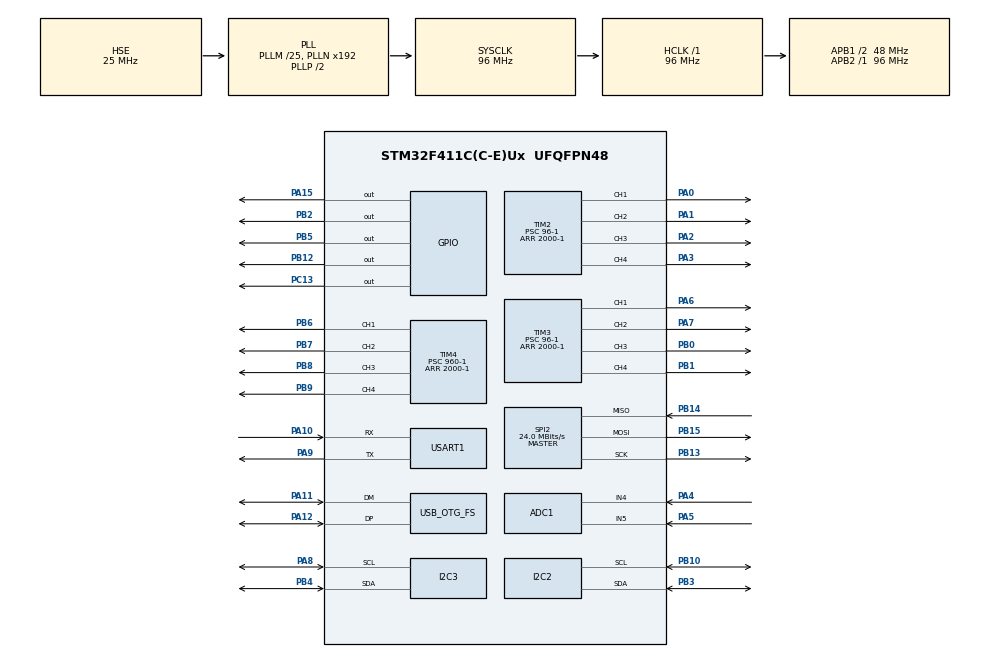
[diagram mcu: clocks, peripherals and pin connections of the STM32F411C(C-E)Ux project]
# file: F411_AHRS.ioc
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ADC1.Channel-0\#ChannelRegularConversion=ADC_CHANNEL_4
ADC1.NbrOfConversionFlag=1
ADC1.Rank-0\#ChannelRegularConversion=1
ADC1.SamplingTime-0\#ChannelRegularConversion=ADC_SAMPLETIME_3CYCLES
ADC1.master=1
Dma.Request0=USART1_RX
Dma.Request1=USART1_TX
Dma.USART1_RX.0.Direction=DMA_PERIPH_TO_MEMORY
Dma.USART1_RX.0.FIFOMode=DMA_FIFOMODE_DISABLE
Dma.USART1_RX.0.Instance=DMA2_Stream2
Dma.USART1_RX.0.MemDataAlignment=DMA_MDATAALIGN_BYTE
Dma.USART1_RX.0.MemInc=DMA_MINC_ENABLE
Dma.USART1_RX.0.Mode=DMA_NORMAL
Dma.USART1_RX.0.PeriphDataAlignment=DMA_PDATAALIGN_BYTE
Dma.USART1_RX.0.PeriphInc=DMA_PINC_DISABLE
Dma.USART1_RX.0.Priority=DMA_PRIORITY_VERY_HIGH
Dma.USART1_TX.1.Direction=DMA_MEMORY_TO_PERIPH
Dma.USART1_TX.1.FIFOMode=DMA_FIFOMODE_DISABLE
Dma.USART1_TX.1.Instance=DMA2_Stream7
Dma.USART1_TX.1.MemDataAlignment=DMA_MDATAALIGN_BYTE
Dma.USART1_TX.1.MemInc=DMA_MINC_ENABLE
Dma.USART1_TX.1.Mode=DMA_NORMAL
Dma.USART1_TX.1.PeriphDataAlignment=DMA_PDATAALIGN_BYTE
Dma.USART1_TX.1.PeriphInc=DMA_PINC_DISABLE
Dma.USART1_TX.1.Priority=DMA_PRIORITY_VERY_HIGH
I2C2.I2C_Mode=I2C_Fast
I2C3.I2C_Mode=I2C_Fast
Mcu.Family=STM32F4
Mcu.Name=STM32F411C(C-E)Ux
Mcu.Package=UFQFPN48
NVIC.DMA2_Stream2_IRQn=true\:0\:0\:false\:false\:true\:false\:true\:true
NVIC.DMA2_Stream7_IRQn=true\:0\:0\:false\:false\:true\:false\:true\:true
NVIC.OTG_FS_IRQn=true\:0\:0\:false\:false\:true\:false\:true\:true
NVIC.PriorityGroup=NVIC_PRIORITYGROUP_4
NVIC.TIM1_BRK_TIM9_IRQn=true\:15\:0\:false\:false\:true\:false\:true\:true
NVIC.TimeBase=TIM1_BRK_TIM9_IRQn
NVIC.TimeBaseIP=TIM9
PA0-WKUP.Signal=S_TIM2_CH1_ETR
PA1.Signal=S_TIM2_CH2
PA10.Mode=Asynchronous
PA10.Signal=USART1_RX
PA11.Mode=Device_Only
PA11.Signal=USB_OTG_FS_DM
PA12.Mode=Device_Only
PA12.Signal=USB_OTG_FS_DP
PA13.Mode=Serial_Wire
PA13.Signal=SYS_JTMS-SWDIO
PA14.Mode=Serial_Wire
PA14.Signal=SYS_JTCK-SWCLK
PA15.Signal=GPIO_Output
PA2.Signal=S_TIM2_CH3
PA3.Signal=S_TIM2_CH4
PA4.Signal=ADCx_IN4
PA5.Signal=ADCx_IN5
PA6.Signal=S_TIM3_CH1
PA7.Signal=S_TIM3_CH2
PA8.Mode=I2C
PA8.Signal=I2C3_SCL
PA9.Mode=Asynchronous
PA9.Signal=USART1_TX
PB0.Signal=S_TIM3_CH3
PB1.Signal=S_TIM3_CH4
PB10.Mode=I2C
PB10.Signal=I2C2_SCL
PB12.Signal=GPIO_Output
PB13.Mode=Full_Duplex_Master
PB13.Signal=SPI2_SCK
PB14.Mode=Full_Duplex_Master
PB14.Signal=SPI2_MISO
PB15.Mode=Full_Duplex_Master
PB15.Signal=SPI2_MOSI
PB2.Signal=GPIO_Output
PB3.Mode=I2C
PB3.Signal=I2C2_SDA
PB4.Mode=I2C
PB4.Signal=I2C3_SDA
PB5.Signal=GPIO_Output
PB6.Signal=S_TIM4_CH1
PB7.Signal=S_TIM4_CH2
PB8.Signal=S_TIM4_CH3
PB9.Signal=S_TIM4_CH4
PC13-ANTI_TAMP.PinState=GPIO_PIN_RESET
PC13-ANTI_TAMP.Signal=GPIO_Output
PH0\ -\ OSC_IN.Mode=HSE-External-Oscillator
PH0\ -\ OSC_IN.Signal=RCC_OSC_IN
PH1\ -\ OSC_OUT.Mode=HSE-External-Oscillator
PH1\ -\ OSC_OUT.Signal=RCC_OSC_OUT
ProjectManager.HeapSize=0x200
ProjectManager.StackSize=0x400
ProjectManager.TargetToolchain=STM32CubeIDE
RCC.48MHZClocksFreq_Value=48000000
RCC.AHBFreq_Value=96000000
RCC.APB1CLKDivider=RCC_HCLK_DIV2
RCC.APB1Freq_Value=48000000
RCC.APB1TimFreq_Value=96000000
RCC.APB2Freq_Value=96000000
RCC.APB2TimFreq_Value=96000000
RCC.CortexFreq_Value=96000000
RCC.HCLKFreq_Value=96000000
RCC.HSE_VALUE=25000000
RCC.HSI_VALUE=16000000
RCC.LSE_VALUE=32768
RCC.PLLM=25
RCC.SYSCLKFreq_VALUE=96000000
RCC.SYSCLKSource=RCC_SYSCLKSOURCE_PLLCLK
RCC.VCOOutputFreq_Value=192000000
SH.ADCx_IN4.0=ADC1_IN4,IN4
SH.ADCx_IN5.0=ADC1_IN5,IN5
SH.S_TIM2_CH1_ETR.0=TIM2_CH1,PWM Generation1 CH1
SH.S_TIM2_CH2.0=TIM2_CH2,PWM Generation2 CH2
SH.S_TIM2_CH3.0=TIM2_CH3,PWM Generation3 CH3
SH.S_TIM2_CH4.0=TIM2_CH4,PWM Generation4 CH4
SH.S_TIM3_CH1.0=TIM3_CH1,PWM Generation1 CH1
SH.S_TIM3_CH2.0=TIM3_CH2,PWM Generation2 CH2
SH.S_TIM3_CH3.0=TIM3_CH3,PWM Generation3 CH3
SH.S_TIM3_CH4.0=TIM3_CH4,PWM Generation4 CH4
SH.S_TIM4_CH1.0=TIM4_CH1,PWM Generation1 CH1
SH.S_TIM4_CH2.0=TIM4_CH2,PWM Generation2 CH2
SH.S_TIM4_CH3.0=TIM4_CH3,PWM Generation3 CH3
SH.S_TIM4_CH4.0=TIM4_CH4,PWM Generation4 CH4
SPI2.CalculateBaudRate=24.0 MBits/s
SPI2.Direction=SPI_DIRECTION_2LINES
SPI2.Mode=SPI_MODE_MASTER
SPI2.VirtualType=VM_MASTER
TIM11.Period=65535
TIM11.Prescaler=96-1
TIM2.Channel-PWM\ Generation1\ CH1=TIM_CHANNEL_1
TIM2.Channel-PWM\ Generation2\ CH2=TIM_CHANNEL_2
TIM2.Channel-PWM\ Generation3\ CH3=TIM_CHANNEL_3
TIM2.Channel-PWM\ Generation4\ CH4=TIM_CHANNEL_4
TIM2.Period=2000-1
TIM2.Prescaler=96-1
TIM3.Channel-PWM\ Generation1\ CH1=TIM_CHANNEL_1
TIM3.Channel-PWM\ Generation2\ CH2=TIM_CHANNEL_2
TIM3.Channel-PWM\ Generation3\ CH3=TIM_CHANNEL_3
TIM3.Channel-PWM\ Generation4\ CH4=TIM_CHANNEL_4
TIM3.Period=2000-1
TIM3.Prescaler=96-1
TIM4.Channel-PWM\ Generation1\ CH1=TIM_CHANNEL_1
TIM4.Channel-PWM\ Generation2\ CH2=TIM_CHANNEL_2
TIM4.Channel-PWM\ Generation3\ CH3=TIM_CHANNEL_3
TIM4.Channel-PWM\ Generation4\ CH4=TIM_CHANNEL_4
TIM4.Period=2000-1
TIM4.Prescaler=960-1
USART1.VirtualMode=VM_ASYNC
USB_DEVICE.CLASS_NAME_FS=CDC
USB_DEVICE.MANUFACTURER_STRING=AquaCore
USB_DEVICE.PRODUCT_STRING_CDC_FS=AquaVCP
USB_DEVICE.VirtualMode=Cdc
USB_DEVICE.VirtualModeFS=Cdc_FS
USB_OTG_FS.VirtualMode=Device_Only
VP_SYS_VS_tim9.Mode=TIM9
VP_TIM11_VS_ClockSourceINT.Mode=Enable_Timer
VP_TIM2_VS_ClockSourceINT.Mode=Internal
VP_TIM3_VS_ClockSourceINT.Mode=Internal
VP_TIM4_VS_ClockSourceINT.Mode=Internal
VP_USB_DEVICE_VS_USB_DEVICE_CDC_FS.Mode=CDC_FS
board=custom

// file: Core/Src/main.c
/* USER CODE BEGIN Header */
/**
  ******************************************************************************
  * @file           : main.c
  * @brief          : Main program body
  ******************************************************************************
  * @attention
  *
  * Copyright (c) 2025 STMicroelectronics.
  * All rights reserved.
  *
  * This software is licensed under terms that can be found in the LICENSE file
  * in the root directory of this software component.
  * If no LICENSE file comes with this software, it is provided AS-IS.
  *
  ******************************************************************************
  */
/* USER CODE END Header */
#include "main.h"
#include "usb_device.h"

/* USER CODE BEGIN Includes */
#include "stdint.h"
#include "string.h"
#include "stdio.h"
#include "math.h"
#include "mpu6050.h"
#include "micros.h"
#include "quaternion.h"
#include "FusionAHRS.h"
#include "LowPassFilter.h"
#include "NotchFilter.h"
/* USER CODE END Includes */

/* USER CODE BEGIN PTD */
MPU6050_t imu_t;

Quaternion_t quaternion_t;

NotchFilter_t NF_gyro_x, NF_gyro_y, NF_gyro_z;
LPFTwoPole_t LPF_accel_x, LPF_accel_y, LPF_accel_z, LPF_gyro_x, LPF_gyro_y, LPF_gyro_z;
/* USER CODE END PTD */

/* USER CODE BEGIN PD */
#define 	SAMPLE_FREQ_HZ 		1000.0f	// Data sample frequency in Hz
#define 	LPF_ACCEL_CTOFF_HZ 	260.0f	// LPF Cut-Off or accelerometer
#define 	LPF_GYRO_CTOFF_HZ 	256.0f	// LPF Cut-Off or gyro
#define 	NF_GYRO_CFREQ_HZ	74.0f	// NF center frequency for Gyro
#define 	NF_GYRO_NWDTH_HZ	5.0f	// NF notch-width frequency for Gyro
/* USER CODE END PD */

/* USER CODE BEGIN PM */
uint32_t Timer_GetElapsed(TIM_HandleTypeDef *htim, uint32_t timer_start);
void SendOrientationData(float yaw, float pitch, float roll);
/* USER CODE END PM */

ADC_HandleTypeDef hadc1;

I2C_HandleTypeDef hi2c2;
I2C_HandleTypeDef hi2c3;

SPI_HandleTypeDef hspi2;

TIM_HandleTypeDef htim2;
TIM_HandleTypeDef htim3;
TIM_HandleTypeDef htim4;
TIM_HandleTypeDef htim11;

UART_HandleTypeDef huart1;
DMA_HandleTypeDef hdma_usart1_rx;
DMA_HandleTypeDef hdma_usart1_tx;

void SystemClock_Config(void);
static void MX_GPIO_Init(void);
static void MX_DMA_Init(void);
static void MX_TIM2_Init(void);
static void MX_TIM3_Init(void);
static void MX_I2C2_Init(void);
static void MX_I2C3_Init(void);
static void MX_USART1_UART_Init(void);
static void MX_TIM11_Init(void);
static void MX_TIM4_Init(void);
static void MX_SPI2_Init(void);
static void MX_ADC1_Init(void);

/* USER CODE BEGIN 0 */
float sample_time_sec_f32 = 1.0f / SAMPLE_FREQ_HZ;
float sample_time_us_f32 = (1.0f / SAMPLE_FREQ_HZ) * 1000000.0f;
float accelLowPassFiltered_f32[3], gyroLowPassFiltered_f32[3], gyroNotchFiltered_f32[3];
float eulerAngles_f32[3];

uint32_t sayac = 0;

char buffer[64];
uint64_t timer_u64 = 0;
uint64_t lastTime_u64 = 0;
uint32_t baslangic = 0;
uint32_t bitis = 0;
uint32_t bitis2 = 0;

/* USER CODE END 0 */

int main(void)
{

  /* MCU Configuration--------------------------------------------------------*/

  /* Reset of all peripherals, Initializes the Flash interface and the Systick. */
  HAL_Init();

  /* Configure the system clock */
  SystemClock_Config();

  /* Initialize all configured peripherals */
  MX_GPIO_Init();
  MX_DMA_Init();
  MX_TIM2_Init();
  MX_TIM3_Init();
  MX_I2C2_Init();
  MX_I2C3_Init();
  MX_USART1_UART_Init();
  MX_TIM11_Init();
  MX_TIM4_Init();
  MX_SPI2_Init();
  MX_ADC1_Init();
  MX_USB_DEVICE_Init();
  /* USER CODE BEGIN 2 */
  HAL_GPIO_WritePin(GPIOC, GPIO_PIN_13, SET);
  //Init DWT Clock for proper us time tick
  DWT_Init();

  //Init filter with predefined settings
  LPFTwoPole_Init(&LPF_accel_x, LPF_TYPE_BESSEL, LPF_ACCEL_CTOFF_HZ, sample_time_sec_f32);
  LPFTwoPole_Init(&LPF_accel_y, LPF_TYPE_BESSEL, LPF_ACCEL_CTOFF_HZ, sample_time_sec_f32);
  LPFTwoPole_Init(&LPF_accel_z, LPF_TYPE_BESSEL, LPF_ACCEL_CTOFF_HZ, sample_time_sec_f32);

  LPFTwoPole_Init(&LPF_gyro_x, LPF_TYPE_BESSEL, LPF_GYRO_CTOFF_HZ, sample_time_sec_f32);
  LPFTwoPole_Init(&LPF_gyro_y, LPF_TYPE_BESSEL, LPF_GYRO_CTOFF_HZ, sample_time_sec_f32);
  LPFTwoPole_Init(&LPF_gyro_z, LPF_TYPE_BESSEL, LPF_GYRO_CTOFF_HZ, sample_time_sec_f32);

  NotchFilterInit(&NF_gyro_x, NF_GYRO_CFREQ_HZ, NF_GYRO_NWDTH_HZ, sample_time_sec_f32);
  NotchFilterInit(&NF_gyro_y, NF_GYRO_CFREQ_HZ, NF_GYRO_NWDTH_HZ, sample_time_sec_f32);
  NotchFilterInit(&NF_gyro_z, NF_GYRO_CFREQ_HZ, NF_GYRO_NWDTH_HZ, sample_time_sec_f32);

  //Init state estimators
  quaternionInit(&quaternion_t, sample_time_us_f32);

  //Init sensors
	while (MPU6050_Init(&hi2c2, &imu_t));

	if (imu_t.CALIBRATIN_OK_u8 == TRUE)
	{
	   HAL_GPIO_WritePin(GPIOC, GPIO_PIN_13, RESET);
	}
	uint8_t newData_u8;

	HAL_TIM_Base_Start(&htim11);
  /* USER CODE END 2 */

  /* Infinite loop */
  /* USER CODE BEGIN WHILE */
  while (1)
  {
	  __HAL_TIM_SET_COUNTER(&htim11, 0);
	  baslangic = __HAL_TIM_GET_COUNTER(&htim11);

    /* USER CODE END WHILE */

    /* USER CODE BEGIN 3 */

		//Get system time in us
		timer_u64 = micros();

		if ( ((timer_u64 - lastTime_u64) >= sample_time_us_f32) && (imu_t.CALIBRATIN_OK_u8 == TRUE) )
		{
			lastTime_u64 = micros();

			//Read MPU6050 sensor data
			readMPU6050(&hi2c2, &imu_t);

			//Get accelerometer data in "g" and run LPF
			accelLowPassFiltered_f32[0] = (LPFTwoPole_Update(&LPF_accel_x, imu_t.MPU6050_Accel_f32[0]));
			accelLowPassFiltered_f32[1] = (LPFTwoPole_Update(&LPF_accel_y, imu_t.MPU6050_Accel_f32[1]));
			accelLowPassFiltered_f32[2] = (LPFTwoPole_Update(&LPF_accel_z, imu_t.MPU6050_Accel_f32[2]));

			//Get gyro data in "deg/s" and run LPF
			gyroLowPassFiltered_f32[0] = NotchFilter_Update(&NF_gyro_x, imu_t.MPU6050_Gyro_f32[0]);
			gyroLowPassFiltered_f32[1] = NotchFilter_Update(&NF_gyro_y, imu_t.MPU6050_Gyro_f32[1]);
			gyroLowPassFiltered_f32[2] = NotchFilter_Update(&NF_gyro_z, imu_t.MPU6050_Gyro_f32[2]);

			//Put gyro data into Notch Filter to flat-out any data in specific frequency band
			gyroNotchFiltered_f32[0] = (LPFTwoPole_Update(&LPF_gyro_x, gyroLowPassFiltered_f32[0]));
			gyroNotchFiltered_f32[1] = (LPFTwoPole_Update(&LPF_gyro_y, gyroLowPassFiltered_f32[1]));
			gyroNotchFiltered_f32[2] = (LPFTwoPole_Update(&LPF_gyro_z, gyroLowPassFiltered_f32[2]));

			//Get state estimations, using quaternion and fusion-quaternion based estimators
			quaternionUpdate(&quaternion_t, accelLowPassFiltered_f32[0], accelLowPassFiltered_f32[1], accelLowPassFiltered_f32[2],
					gyroNotchFiltered_f32[0]*(M_PI/180.0f), gyroNotchFiltered_f32[1]*(M_PI/180.0f),gyroNotchFiltered_f32[2]*(M_PI/180.0f));

			newData_u8 = TRUE; //Set newData to high for activate UART printer

		}//end of timer if
/*
		if(newData_u8 && sayac > 1000)
		{
			printf("%f, %f, %f\r\n",
					quaternion_t.yaw, quaternion_t.pitch, quaternion_t.roll);
			newData_u8 = FALSE;
		}
*/
		if(newData_u8 && sayac > 1000)
		{
			newData_u8 = FALSE;
			SendOrientationData((float)quaternion_t.yaw,(float)quaternion_t.pitch,(float)quaternion_t.roll);
			sayac = 0;
		}sayac++;

		bitis = Timer_GetElapsed(&htim11, baslangic);

	  }
  /* USER CODE END 3 */
}

void SystemClock_Config(void)
{
  RCC_OscInitTypeDef RCC_OscInitStruct = {0};
  RCC_ClkInitTypeDef RCC_ClkInitStruct = {0};

  /** Configure the main internal regulator output voltage
  */
  __HAL_RCC_PWR_CLK_ENABLE();
  __HAL_PWR_VOLTAGESCALING_CONFIG(PWR_REGULATOR_VOLTAGE_SCALE1);

  /** Initializes the RCC Oscillators according to the specified parameters
  * in the RCC_OscInitTypeDef structure.
  */
  RCC_OscInitStruct.OscillatorType = RCC_OSCILLATORTYPE_HSE;
  RCC_OscInitStruct.HSEState = RCC_HSE_ON;
  RCC_OscInitStruct.PLL.PLLState = RCC_PLL_ON;
  RCC_OscInitStruct.PLL.PLLSource = RCC_PLLSOURCE_HSE;
  RCC_OscInitStruct.PLL.PLLM = 25;
  RCC_OscInitStruct.PLL.PLLN = 192;
  RCC_OscInitStruct.PLL.PLLP = RCC_PLLP_DIV2;
  RCC_OscInitStruct.PLL.PLLQ = 4;
  if (HAL_RCC_OscConfig(&RCC_OscInitStruct) != HAL_OK)
  {
    Error_Handler();
  }

  /** Initializes the CPU, AHB and APB buses clocks
  */
  RCC_ClkInitStruct.ClockType = RCC_CLOCKTYPE_HCLK|RCC_CLOCKTYPE_SYSCLK
                              |RCC_CLOCKTYPE_PCLK1|RCC_CLOCKTYPE_PCLK2;
  RCC_ClkInitStruct.SYSCLKSource = RCC_SYSCLKSOURCE_PLLCLK;
  RCC_ClkInitStruct.AHBCLKDivider = RCC_SYSCLK_DIV1;
  RCC_ClkInitStruct.APB1CLKDivider = RCC_HCLK_DIV2;
  RCC_ClkInitStruct.APB2CLKDivider = RCC_HCLK_DIV1;

  if (HAL_RCC_ClockConfig(&RCC_ClkInitStruct, FLASH_LATENCY_3) != HAL_OK)
  {
    Error_Handler();
  }
}

static void MX_ADC1_Init(void)
{

  ADC_ChannelConfTypeDef sConfig = {0};

  /** Configure the global features of the ADC (Clock, Resolution, Data Alignment and number of conversion)
  */
  hadc1.Instance = ADC1;
  hadc1.Init.ClockPrescaler = ADC_CLOCK_SYNC_PCLK_DIV4;
  hadc1.Init.Resolution = ADC_RESOLUTION_12B;
  hadc1.Init.ScanConvMode = DISABLE;
  hadc1.Init.ContinuousConvMode = DISABLE;
  hadc1.Init.DiscontinuousConvMode = DISABLE;
  hadc1.Init.ExternalTrigConvEdge = ADC_EXTERNALTRIGCONVEDGE_NONE;
  hadc1.Init.ExternalTrigConv = ADC_SOFTWARE_START;
  hadc1.Init.DataAlign = ADC_DATAALIGN_RIGHT;
  hadc1.Init.NbrOfConversion = 1;
  hadc1.Init.DMAContinuousRequests = DISABLE;
  hadc1.Init.EOCSelection = ADC_EOC_SINGLE_CONV;
  if (HAL_ADC_Init(&hadc1) != HAL_OK)
  {
    Error_Handler();
  }

  /** Configure for the selected ADC regular channel its corresponding rank in the sequencer and its sample time.
  */
  sConfig.Channel = ADC_CHANNEL_4;
  sConfig.Rank = 1;
  sConfig.SamplingTime = ADC_SAMPLETIME_3CYCLES;
  if (HAL_ADC_ConfigChannel(&hadc1, &sConfig) != HAL_OK)
  {
    Error_Handler();
  }

}

static void MX_I2C2_Init(void)
{

  hi2c2.Instance = I2C2;
  hi2c2.Init.ClockSpeed = 400000;
  hi2c2.Init.DutyCycle = I2C_DUTYCYCLE_2;
  hi2c2.Init.OwnAddress1 = 0;
  hi2c2.Init.AddressingMode = I2C_ADDRESSINGMODE_7BIT;
  hi2c2.Init.DualAddressMode = I2C_DUALADDRESS_DISABLE;
  hi2c2.Init.OwnAddress2 = 0;
  hi2c2.Init.GeneralCallMode = I2C_GENERALCALL_DISABLE;
  hi2c2.Init.NoStretchMode = I2C_NOSTRETCH_DISABLE;
  if (HAL_I2C_Init(&hi2c2) != HAL_OK)
  {
    Error_Handler();
  }

}

static void MX_I2C3_Init(void)
{

  hi2c3.Instance = I2C3;
  hi2c3.Init.ClockSpeed = 400000;
  hi2c3.Init.DutyCycle = I2C_DUTYCYCLE_2;
  hi2c3.Init.OwnAddress1 = 0;
  hi2c3.Init.AddressingMode = I2C_ADDRESSINGMODE_7BIT;
  hi2c3.Init.DualAddressMode = I2C_DUALADDRESS_DISABLE;
  hi2c3.Init.OwnAddress2 = 0;
  hi2c3.Init.GeneralCallMode = I2C_GENERALCALL_DISABLE;
  hi2c3.Init.NoStretchMode = I2C_NOSTRETCH_DISABLE;
  if (HAL_I2C_Init(&hi2c3) != HAL_OK)
  {
    Error_Handler();
  }

}

static void MX_SPI2_Init(void)
{

  /* SPI2 parameter configuration*/
  hspi2.Instance = SPI2;
  hspi2.Init.Mode = SPI_MODE_MASTER;
  hspi2.Init.Direction = SPI_DIRECTION_2LINES;
  hspi2.Init.DataSize = SPI_DATASIZE_8BIT;
  hspi2.Init.CLKPolarity = SPI_POLARITY_LOW;
  hspi2.Init.CLKPhase = SPI_PHASE_1EDGE;
  hspi2.Init.NSS = SPI_NSS_SOFT;
  hspi2.Init.BaudRatePrescaler = SPI_BAUDRATEPRESCALER_2;
  hspi2.Init.FirstBit = SPI_FIRSTBIT_MSB;
  hspi2.Init.TIMode = SPI_TIMODE_DISABLE;
  hspi2.Init.CRCCalculation = SPI_CRCCALCULATION_DISABLE;
  hspi2.Init.CRCPolynomial = 10;
  if (HAL_SPI_Init(&hspi2) != HAL_OK)
  {
    Error_Handler();
  }

}

static void MX_TIM2_Init(void)
{

  TIM_ClockConfigTypeDef sClockSourceConfig = {0};
  TIM_MasterConfigTypeDef sMasterConfig = {0};
  TIM_OC_InitTypeDef sConfigOC = {0};

  htim2.Instance = TIM2;
  htim2.Init.Prescaler = 96-1;
  htim2.Init.CounterMode = TIM_COUNTERMODE_UP;
  htim2.Init.Period = 2000-1;
  htim2.Init.ClockDivision = TIM_CLOCKDIVISION_DIV1;
  htim2.Init.AutoReloadPreload = TIM_AUTORELOAD_PRELOAD_DISABLE;
  if (HAL_TIM_Base_Init(&htim2) != HAL_OK)
  {
    Error_Handler();
  }
  sClockSourceConfig.ClockSource = TIM_CLOCKSOURCE_INTERNAL;
  if (HAL_TIM_ConfigClockSource(&htim2, &sClockSourceConfig) != HAL_OK)
  {
    Error_Handler();
  }
  if (HAL_TIM_PWM_Init(&htim2) != HAL_OK)
  {
    Error_Handler();
  }
  sMasterConfig.MasterOutputTrigger = TIM_TRGO_RESET;
  sMasterConfig.MasterSlaveMode = TIM_MASTERSLAVEMODE_DISABLE;
  if (HAL_TIMEx_MasterConfigSynchronization(&htim2, &sMasterConfig) != HAL_OK)
  {
    Error_Handler();
  }
  sConfigOC.OCMode = TIM_OCMODE_PWM1;
  sConfigOC.Pulse = 0;
  sConfigOC.OCPolarity = TIM_OCPOLARITY_HIGH;
  sConfigOC.OCFastMode = TIM_OCFAST_DISABLE;
  if (HAL_TIM_PWM_ConfigChannel(&htim2, &sConfigOC, TIM_CHANNEL_1) != HAL_OK)
  {
    Error_Handler();
  }
  if (HAL_TIM_PWM_ConfigChannel(&htim2, &sConfigOC, TIM_CHANNEL_2) != HAL_OK)
  {
    Error_Handler();
  }
  if (HAL_TIM_PWM_ConfigChannel(&htim2, &sConfigOC, TIM_CHANNEL_3) != HAL_OK)
  {
    Error_Handler();
  }
  if (HAL_TIM_PWM_ConfigChannel(&htim2, &sConfigOC, TIM_CHANNEL_4) != HAL_OK)
  {
    Error_Handler();
  }
  HAL_TIM_MspPostInit(&htim2);

}

static void MX_TIM3_Init(void)
{

  TIM_ClockConfigTypeDef sClockSourceConfig = {0};
  TIM_MasterConfigTypeDef sMasterConfig = {0};
  TIM_OC_InitTypeDef sConfigOC = {0};

  htim3.Instance = TIM3;
  htim3.Init.Prescaler = 96-1;
  htim3.Init.CounterMode = TIM_COUNTERMODE_UP;
  htim3.Init.Period = 2000-1;
  htim3.Init.ClockDivision = TIM_CLOCKDIVISION_DIV1;
  htim3.Init.AutoReloadPreload = TIM_AUTORELOAD_PRELOAD_DISABLE;
  if (HAL_TIM_Base_Init(&htim3) != HAL_OK)
  {
    Error_Handler();
  }
  sClockSourceConfig.ClockSource = TIM_CLOCKSOURCE_INTERNAL;
  if (HAL_TIM_ConfigClockSource(&htim3, &sClockSourceConfig) != HAL_OK)
  {
    Error_Handler();
  }
  if (HAL_TIM_PWM_Init(&htim3) != HAL_OK)
  {
    Error_Handler();
  }
  sMasterConfig.MasterOutputTrigger = TIM_TRGO_RESET;
  sMasterConfig.MasterSlaveMode = TIM_MASTERSLAVEMODE_DISABLE;
  if (HAL_TIMEx_MasterConfigSynchronization(&htim3, &sMasterConfig) != HAL_OK)
  {
    Error_Handler();
  }
  sConfigOC.OCMode = TIM_OCMODE_PWM1;
  sConfigOC.Pulse = 0;
  sConfigOC.OCPolarity = TIM_OCPOLARITY_HIGH;
  sConfigOC.OCFastMode = TIM_OCFAST_DISABLE;
  if (HAL_TIM_PWM_ConfigChannel(&htim3, &sConfigOC, TIM_CHANNEL_1) != HAL_OK)
  {
    Error_Handler();
  }
  if (HAL_TIM_PWM_ConfigChannel(&htim3, &sConfigOC, TIM_CHANNEL_2) != HAL_OK)
  {
    Error_Handler();
  }
  if (HAL_TIM_PWM_ConfigChannel(&htim3, &sConfigOC, TIM_CHANNEL_3) != HAL_OK)
  {
    Error_Handler();
  }
  if (HAL_TIM_PWM_ConfigChannel(&htim3, &sConfigOC, TIM_CHANNEL_4) != HAL_OK)
  {
    Error_Handler();
  }
  HAL_TIM_MspPostInit(&htim3);

}

static void MX_TIM4_Init(void)
{

  TIM_ClockConfigTypeDef sClockSourceConfig = {0};
  TIM_MasterConfigTypeDef sMasterConfig = {0};
  TIM_OC_InitTypeDef sConfigOC = {0};

  htim4.Instance = TIM4;
  htim4.Init.Prescaler = 960-1;
  htim4.Init.CounterMode = TIM_COUNTERMODE_UP;
  htim4.Init.Period = 2000-1;
  htim4.Init.ClockDivision = TIM_CLOCKDIVISION_DIV1;
  htim4.Init.AutoReloadPreload = TIM_AUTORELOAD_PRELOAD_DISABLE;
  if (HAL_TIM_Base_Init(&htim4) != HAL_OK)
  {
    Error_Handler();
  }
  sClockSourceConfig.ClockSource = TIM_CLOCKSOURCE_INTERNAL;
  if (HAL_TIM_ConfigClockSource(&htim4, &sClockSourceConfig) != HAL_OK)
  {
    Error_Handler();
  }
  if (HAL_TIM_PWM_Init(&htim4) != HAL_OK)
  {
    Error_Handler();
  }
  sMasterConfig.MasterOutputTrigger = TIM_TRGO_RESET;
  sMasterConfig.MasterSlaveMode = TIM_MASTERSLAVEMODE_DISABLE;
  if (HAL_TIMEx_MasterConfigSynchronization(&htim4, &sMasterConfig) != HAL_OK)
  {
    Error_Handler();
  }
  sConfigOC.OCMode = TIM_OCMODE_PWM1;
  sConfigOC.Pulse = 0;
  sConfigOC.OCPolarity = TIM_OCPOLARITY_HIGH;
  sConfigOC.OCFastMode = TIM_OCFAST_DISABLE;
  if (HAL_TIM_PWM_ConfigChannel(&htim4, &sConfigOC, TIM_CHANNEL_1) != HAL_OK)
  {
    Error_Handler();
  }
  if (HAL_TIM_PWM_ConfigChannel(&htim4, &sConfigOC, TIM_CHANNEL_2) != HAL_OK)
  {
    Error_Handler();
  }
  if (HAL_TIM_PWM_ConfigChannel(&htim4, &sConfigOC, TIM_CHANNEL_3) != HAL_OK)
  {
    Error_Handler();
  }
  if (HAL_TIM_PWM_ConfigChannel(&htim4, &sConfigOC, TIM_CHANNEL_4) != HAL_OK)
  {
    Error_Handler();
  }
  HAL_TIM_MspPostInit(&htim4);

}

static void MX_TIM11_Init(void)
{

  htim11.Instance = TIM11;
  htim11.Init.Prescaler = 96-1;
  htim11.Init.CounterMode = TIM_COUNTERMODE_UP;
  htim11.Init.Period = 65535;
  htim11.Init.ClockDivision = TIM_CLOCKDIVISION_DIV1;
  htim11.Init.AutoReloadPreload = TIM_AUTORELOAD_PRELOAD_DISABLE;
  if (HAL_TIM_Base_Init(&htim11) != HAL_OK)
  {
    Error_Handler();
  }

}

static void MX_USART1_UART_Init(void)
{

  huart1.Instance = USART1;
  huart1.Init.BaudRate = 115200;
  huart1.Init.WordLength = UART_WORDLENGTH_8B;
  huart1.Init.StopBits = UART_STOPBITS_1;
  huart1.Init.Parity = UART_PARITY_NONE;
  huart1.Init.Mode = UART_MODE_TX_RX;
  huart1.Init.HwFlowCtl = UART_HWCONTROL_NONE;
  huart1.Init.OverSampling = UART_OVERSAMPLING_16;
  if (HAL_UART_Init(&huart1) != HAL_OK)
  {
    Error_Handler();
  }

}

static void MX_DMA_Init(void)
{

  /* DMA controller clock enable */
  __HAL_RCC_DMA2_CLK_ENABLE();

  /* DMA interrupt init */
  /* DMA2_Stream2_IRQn interrupt configuration */
  HAL_NVIC_SetPriority(DMA2_Stream2_IRQn, 0, 0);
  HAL_NVIC_EnableIRQ(DMA2_Stream2_IRQn);
  /* DMA2_Stream7_IRQn interrupt configuration */
  HAL_NVIC_SetPriority(DMA2_Stream7_IRQn, 0, 0);
  HAL_NVIC_EnableIRQ(DMA2_Stream7_IRQn);

}

static void MX_GPIO_Init(void)
{
  GPIO_InitTypeDef GPIO_InitStruct = {0};

  /* GPIO Ports Clock Enable */
  __HAL_RCC_GPIOC_CLK_ENABLE();
  __HAL_RCC_GPIOH_CLK_ENABLE();
  __HAL_RCC_GPIOA_CLK_ENABLE();
  __HAL_RCC_GPIOB_CLK_ENABLE();

  /*Configure GPIO pin Output Level */
  HAL_GPIO_WritePin(GPIOC, GPIO_PIN_13, GPIO_PIN_RESET);

  /*Configure GPIO pin Output Level */
  HAL_GPIO_WritePin(GPIOB, GPIO_PIN_2|GPIO_PIN_12|GPIO_PIN_5, GPIO_PIN_RESET);

  /*Configure GPIO pin Output Level */
  HAL_GPIO_WritePin(GPIOA, GPIO_PIN_15, GPIO_PIN_RESET);

  /*Configure GPIO pin : PC13 */
  GPIO_InitStruct.Pin = GPIO_PIN_13;
  GPIO_InitStruct.Mode = GPIO_MODE_OUTPUT_PP;
  GPIO_InitStruct.Pull = GPIO_NOPULL;
  GPIO_InitStruct.Speed = GPIO_SPEED_FREQ_LOW;
  HAL_GPIO_Init(GPIOC, &GPIO_InitStruct);

  /*Configure GPIO pins : PB2 PB12 PB5 */
  GPIO_InitStruct.Pin = GPIO_PIN_2|GPIO_PIN_12|GPIO_PIN_5;
  GPIO_InitStruct.Mode = GPIO_MODE_OUTPUT_PP;
  GPIO_InitStruct.Pull = GPIO_NOPULL;
  GPIO_InitStruct.Speed = GPIO_SPEED_FREQ_LOW;
  HAL_GPIO_Init(GPIOB, &GPIO_InitStruct);

  /*Configure GPIO pin : PA15 */
  GPIO_InitStruct.Pin = GPIO_PIN_15;
  GPIO_InitStruct.Mode = GPIO_MODE_OUTPUT_PP;
  GPIO_InitStruct.Pull = GPIO_NOPULL;
  GPIO_InitStruct.Speed = GPIO_SPEED_FREQ_LOW;
  HAL_GPIO_Init(GPIOA, &GPIO_InitStruct);

}

/* USER CODE BEGIN 4 */

void SendOrientationData(float yaw, float pitch, float roll)
{

    int len = snprintf(buffer, sizeof(buffer), "%.2f %.2f %.2f\n", yaw, pitch, roll);

    if (len > 0 && len < sizeof(buffer)) {
        CDC_Transmit_FS((uint8_t*)buffer, len);
    }
}

uint32_t Timer_GetElapsed(TIM_HandleTypeDef *htim, uint32_t timer_start) {
    uint32_t timer_end = __HAL_TIM_GET_COUNTER(htim);  // Timer pointer'ı ile sayaç değeri alınır

    if (timer_end >= timer_start) {
        return timer_end - timer_start;
    } else {
        return (0xFFFFFFFF - timer_start) + timer_end + 1;
    }
}

/* USER CODE END 4 */

void HAL_TIM_PeriodElapsedCallback(TIM_HandleTypeDef *htim)
{
  if (htim->Instance == TIM9)
  {
    HAL_IncTick();
  }
}

void Error_Handler(void)
{
  __disable_irq();
  while (1)
  {
  }
}
